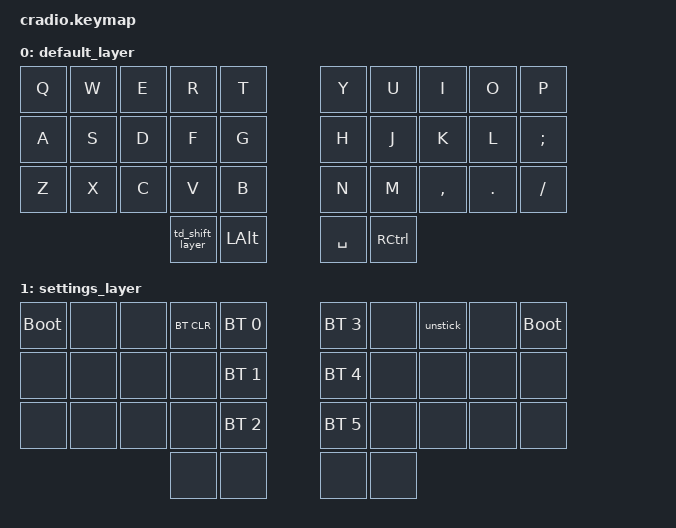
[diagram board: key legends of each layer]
// Copyright (c) 2022 The ZMK Contributors
// SPDX-License-Identifier: MIT

#include <behaviors.dtsi>
#include <dt-bindings/zmk/keys.h>
#include <dt-bindings/zmk/bt.h>

#define BASE  0
#define SETTINGS 1

/ {

    chosen {
        zmk,charmap = &charmap_us;
    };
	
	  macros {
				// Sometimes the keyboard thinks a modifier is being held down,
				// pressing all modifiers fixes it.
				unstick: unstick {
					label = "ZM_unstick";
					compatible = "zmk,behavior-macro";
					#binding-cells = <0>;
					bindings
						= <&kp LSHIFT &kp RSHIFT &kp LCTRL &kp RCTRL &kp LALT &kp RALT &kp LGUI &kp RGUI>;
				};
		};
  
	  behaviors {
        td_shift_layer: tap_dance_0 {
            compatible = "zmk,behavior-tap-dance";
            #binding-cells = <0>;
            tapping-term-ms = <200>;
            bindings = <&kp LSHIFT>, <&kp LSHIFT>, <&mo SETTINGS>;
        };
    };

    keymap {
        compatible = "zmk,keymap";

        default_layer {
            bindings = <
								&kp Q  &kp W  &kp E  &kp R            &kp T           &kp Y      &kp U      &kp I      &kp O    &kp P
								&kp A  &kp S  &kp D  &kp F            &kp G           &kp H      &kp J      &kp K      &kp L    &kp SEMICOLON
								&kp Z  &kp X  &kp C  &kp V            &kp B           &kp N      &kp M      &kp COMMA  &kp DOT  &kp FSLH
																		 &td_shift_layer  &kp LEFT_ALT    &kp SPACE  &kp RCTRL
            >;
        };

       	settings_layer {
		        bindings = <
							  &bootloader &none &none &bt BT_CLR &bt BT_SEL 0   &bt BT_SEL 3 &none &unstick &none &bootloader 
							  &none       &none &none &none      &bt BT_SEL 1 	&bt BT_SEL 4 &none &none    &none &none
							  &none       &none &none &none      &bt BT_SEL 2   &bt BT_SEL 5 &none &none    &none &none
								  											&none      &none          &none        &none 
						>;
		    };

    };
};
